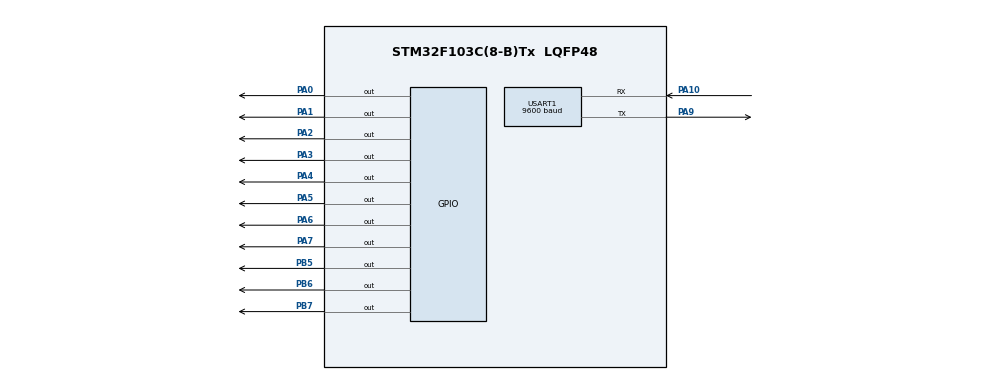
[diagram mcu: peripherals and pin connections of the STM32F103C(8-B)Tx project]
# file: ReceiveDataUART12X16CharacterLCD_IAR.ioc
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Mcu.Family=STM32F1
Mcu.Name=STM32F103C(8-B)Tx
Mcu.Package=LQFP48
NVIC.PriorityGroup=NVIC_PRIORITYGROUP_4
NVIC.USART1_IRQn=true\:0\:0\:false\:false\:true\:true\:true\:true
PA0-WKUP.Signal=GPIO_Output
PA1.Signal=GPIO_Output
PA10.Mode=Asynchronous
PA10.Signal=USART1_RX
PA13.Mode=Serial_Wire
PA13.Signal=SYS_JTMS-SWDIO
PA14.Mode=Serial_Wire
PA14.Signal=SYS_JTCK-SWCLK
PA2.Signal=GPIO_Output
PA3.Signal=GPIO_Output
PA4.Signal=GPIO_Output
PA5.Signal=GPIO_Output
PA6.Signal=GPIO_Output
PA7.Signal=GPIO_Output
PA9.Mode=Asynchronous
PA9.Signal=USART1_TX
PB5.Signal=GPIO_Output
PB6.Signal=GPIO_Output
PB7.Signal=GPIO_Output
PD0-OSC_IN.Mode=HSE-External-Oscillator
PD0-OSC_IN.Signal=RCC_OSC_IN
PD1-OSC_OUT.Mode=HSE-External-Oscillator
PD1-OSC_OUT.Signal=RCC_OSC_OUT
ProjectManager.HeapSize=0x200
ProjectManager.StackSize=0x400
ProjectManager.TargetToolchain=EWARM V8.32
RCC.APB1Freq_Value=8000000
RCC.APB2Freq_Value=8000000
RCC.SYSCLKSource=RCC_SYSCLKSOURCE_HSE
USART1.BaudRate=9600
USART1.VirtualMode=VM_ASYNC
board=custom

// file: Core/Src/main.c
/* USER CODE BEGIN Header */
/**
  ******************************************************************************
  * @file           : main.c
  * @brief          : Main program body
  ******************************************************************************
  * @attention
  *
  * Copyright (c) 2023 STMicroelectronics.
  * All rights reserved.
  *
  * This software is licensed under terms that can be found in the LICENSE file
  * in the root directory of this software component.
  * If no LICENSE file comes with this software, it is provided AS-IS.
  *
  ******************************************************************************
  */
/* USER CODE END Header */
#include "main.h"

/* USER CODE BEGIN Includes */

#include "LCD/lcd.h"
#include <stdio.h>

/* USER CODE END Includes */

UART_HandleTypeDef huart1;

void SystemClock_Config(void);
static void MX_GPIO_Init(void);
static void MX_USART1_UART_Init(void);

int main(void)
{
  /* USER CODE BEGIN 1 */

  char str[17] = "";

  /* USER CODE END 1 */

  /* MCU Configuration--------------------------------------------------------*/

  /* Reset of all peripherals, Initializes the Flash interface and the Systick. */
  HAL_Init();

  /* Configure the system clock */
  SystemClock_Config();

  /* Initialize all configured peripherals */
  MX_GPIO_Init();
  MX_USART1_UART_Init();
  /* USER CODE BEGIN 2 */

  lcd_init();
  lcd_clear();

  lcd_gotoxy(0,0);
  lcd_puts("  dibadigital  ");
  HAL_Delay(2000);
  lcd_clear();

  HAL_UART_Receive_IT(&huart1, (uint8_t*) str, 16); //huart1.RxXferCount = 16

  /* USER CODE END 2 */

  /* Infinite loop */
  /* USER CODE BEGIN WHILE */
  while (1)
  {
    lcd_gotoxy(0,0);
    lcd_puts(str);

    if(huart1.RxXferCount == 0)
    {
      HAL_UART_Init(&huart1);
      HAL_UART_Receive_IT(&huart1, (uint8_t*) str, 16);
    }
    /* USER CODE END WHILE */

  }
}

void SystemClock_Config(void)
{
  RCC_OscInitTypeDef RCC_OscInitStruct = {0};
  RCC_ClkInitTypeDef RCC_ClkInitStruct = {0};

  /** Initializes the RCC Oscillators according to the specified parameters
  * in the RCC_OscInitTypeDef structure.
  */
  RCC_OscInitStruct.OscillatorType = RCC_OSCILLATORTYPE_HSE;
  RCC_OscInitStruct.HSEState = RCC_HSE_ON;
  RCC_OscInitStruct.PLL.PLLState = RCC_PLL_NONE;
  if (HAL_RCC_OscConfig(&RCC_OscInitStruct) != HAL_OK)
  {
    Error_Handler();
  }

  /** Initializes the CPU, AHB and APB buses clocks
  */
  RCC_ClkInitStruct.ClockType = RCC_CLOCKTYPE_HCLK|RCC_CLOCKTYPE_SYSCLK
                              |RCC_CLOCKTYPE_PCLK1|RCC_CLOCKTYPE_PCLK2;
  RCC_ClkInitStruct.SYSCLKSource = RCC_SYSCLKSOURCE_HSE;
  RCC_ClkInitStruct.AHBCLKDivider = RCC_SYSCLK_DIV1;
  RCC_ClkInitStruct.APB1CLKDivider = RCC_HCLK_DIV1;
  RCC_ClkInitStruct.APB2CLKDivider = RCC_HCLK_DIV1;

  if (HAL_RCC_ClockConfig(&RCC_ClkInitStruct, FLASH_LATENCY_0) != HAL_OK)
  {
    Error_Handler();
  }
}

static void MX_USART1_UART_Init(void)
{

  huart1.Instance = USART1;
  huart1.Init.BaudRate = 9600;
  huart1.Init.WordLength = UART_WORDLENGTH_8B;
  huart1.Init.StopBits = UART_STOPBITS_1;
  huart1.Init.Parity = UART_PARITY_NONE;
  huart1.Init.Mode = UART_MODE_TX_RX;
  huart1.Init.HwFlowCtl = UART_HWCONTROL_NONE;
  huart1.Init.OverSampling = UART_OVERSAMPLING_16;
  if (HAL_UART_Init(&huart1) != HAL_OK)
  {
    Error_Handler();
  }

}

static void MX_GPIO_Init(void)
{
  GPIO_InitTypeDef GPIO_InitStruct = {0};

  /* GPIO Ports Clock Enable */
  __HAL_RCC_GPIOD_CLK_ENABLE();
  __HAL_RCC_GPIOA_CLK_ENABLE();
  __HAL_RCC_GPIOB_CLK_ENABLE();

  /*Configure GPIO pin Output Level */
  HAL_GPIO_WritePin(GPIOA, GPIO_PIN_0|GPIO_PIN_1|GPIO_PIN_2|GPIO_PIN_3
                          |GPIO_PIN_4|GPIO_PIN_5|GPIO_PIN_6|GPIO_PIN_7, GPIO_PIN_RESET);

  /*Configure GPIO pin Output Level */
  HAL_GPIO_WritePin(GPIOB, GPIO_PIN_5|GPIO_PIN_6|GPIO_PIN_7, GPIO_PIN_RESET);

  /*Configure GPIO pins : PA0 PA1 PA2 PA3
                           PA4 PA5 PA6 PA7 */
  GPIO_InitStruct.Pin = GPIO_PIN_0|GPIO_PIN_1|GPIO_PIN_2|GPIO_PIN_3
                          |GPIO_PIN_4|GPIO_PIN_5|GPIO_PIN_6|GPIO_PIN_7;
  GPIO_InitStruct.Mode = GPIO_MODE_OUTPUT_PP;
  GPIO_InitStruct.Pull = GPIO_NOPULL;
  GPIO_InitStruct.Speed = GPIO_SPEED_FREQ_LOW;
  HAL_GPIO_Init(GPIOA, &GPIO_InitStruct);

  /*Configure GPIO pins : PB5 PB6 PB7 */
  GPIO_InitStruct.Pin = GPIO_PIN_5|GPIO_PIN_6|GPIO_PIN_7;
  GPIO_InitStruct.Mode = GPIO_MODE_OUTPUT_PP;
  GPIO_InitStruct.Pull = GPIO_NOPULL;
  GPIO_InitStruct.Speed = GPIO_SPEED_FREQ_LOW;
  HAL_GPIO_Init(GPIOB, &GPIO_InitStruct);

}

void Error_Handler(void)
{
  __disable_irq();
  while (1)
  {
  }
}
